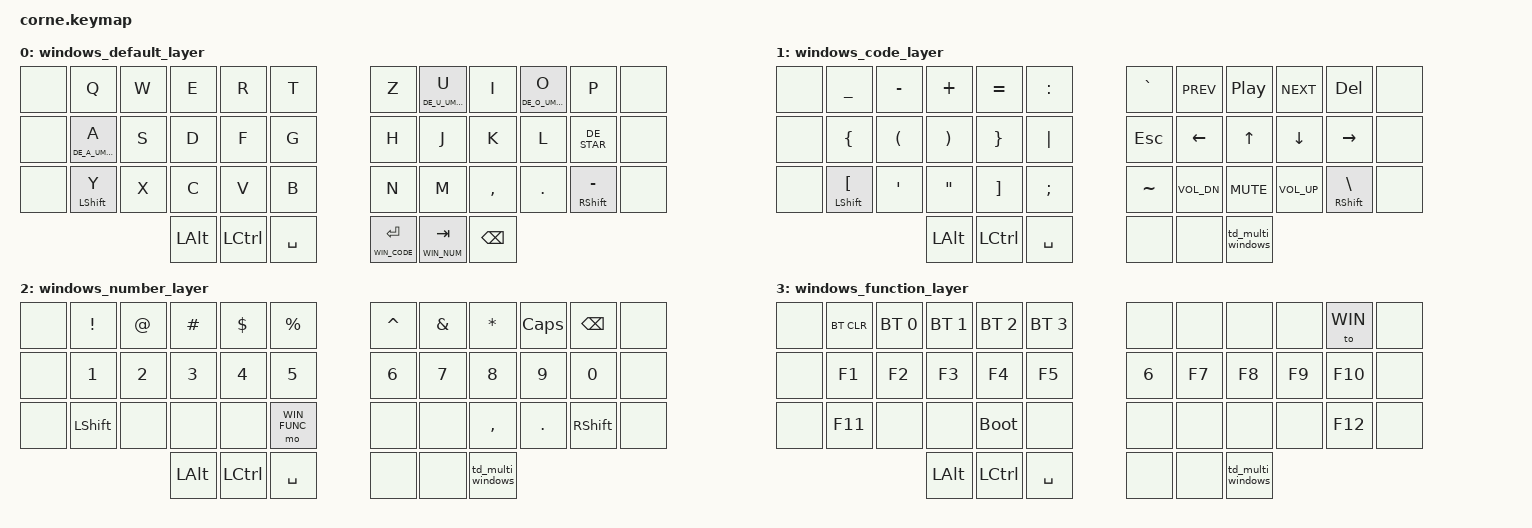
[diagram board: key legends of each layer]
#include <behaviors.dtsi>
#include <dt-bindings/zmk/keys.h>
#include <dt-bindings/zmk/bt.h>
#include "keys_de.h"
#include "keys_nb.h"
#include "keys_se.h"

// Layers
#define WIN 0
#define WIN_CODE 1
#define WIN_NUM 2
#define WIN_FUNC 3

// Behavior Overrides
&lt {
    tapping-term-ms = <200>;
    flavor = "hold-preferred";
};

/ {
    //combos {
      //  compatible = "zmk,combos";
        
        //combo_tab {
        //  timeout-ms = <20>;
        //  key-positions = <1 2>;
        //  bindings = <&kp TAB>;
        //};

      //  combo_enter {
        //    timeout-ms = <20>;
          //  key-positions = <13 14>;
            //bindings = <&kp ENTER>;
        //};
    //};  WIN NUM WIN TAB

    macros {
        spotlight: spotlight {
            label = "spotlight";
            compatible = "zmk,behavior-macro";
            #binding-cells = <0>;
            bindings = <&macro_press &kp LGUI>, <&macro_tap &kp SPACE>, <&macro_release &kp LGUI>; 
        };

        // Emoji
        mac_emoji: mac_emoji {
            label = "mac_emoji";
            compatible = "zmk,behavior-macro";
            #binding-cells = <0>;
            bindings = <&macro_press &kp LGUI>, <&macro_press &kp LCTRL>, <&macro_tap &kp SPACE>, <&macro_release &kp LCTRL>, <&macro_release &kp LGUI>; 
        };

        win_emoji: win_emoji {
            label = "win_emoji";
            compatible = "zmk,behavior-macro";
            #binding-cells = <0>;
            bindings = <&macro_press &kp LGUI>, <&macro_tap &kp DOT>, <&macro_release &kp LGUI>; 
        };
    };

    behaviors {
        td_multi_mac: tap_dance_multi_mac {
            compatible = "zmk,behavior-tap-dance";
            label = "TAP_DANCE_MULTI_MAC";
            #binding-cells = <0>;
            tapping-term-ms = <200>;
            bindings = <&kp ESC>, <&spotlight>, <&mac_emoji>;
        };

        td_multi_windows: tap_dance_multi_windows {
            compatible = "zmk,behavior-tap-dance";
            label = "TAP_DANCE_MULTI_WINDOWS";
            #binding-cells = <0>;
            tapping-term-ms = <200>;
            bindings = <&kp ESC>, <&kp LGUI>, <&win_emoji>;
        };

        bm: bottom_row_mods {
            compatible = "zmk,behavior-hold-tap";
            label = "BOTTOM_ROW_MODS";
            #binding-cells = <2>;
            tapping-term-ms = <200>;
            quick-tap-ms = <0>;
            flavor = "tap-preferred";
            bindings = <&kp>, <&kp>;
        };

        cm: code_row_mods {
            compatible = "zmk,behavior-hold-tap";
            label = "CODE_ROW_MODS";
            #binding-cells = <2>;
            tapping-term-ms = <200>;
            quick-tap-ms = <0>;
            flavor = "tap-preferred";
            bindings = <&kp>, <&kp>;
            retro-tap;
        };

        sm: space_mod {
            compatible = "zmk,behavior-hold-tap";
            label = "SPACE_MOD";
            #binding-cells = <2>;
            flavor = "balanced";
            tapping-term-ms = <200>;
            quick-tap-ms = <125>;
            bindings = <&kp>, <&kp>;
        };
    };

    keymap {
        compatible = "zmk,keymap";
        windows_default_layer {
            bindings = <
                &none      &kp Q            &kp W      &kp E          &kp R         &kp T               &kp Z                 &bm DE_U_UMLAUT U                  &kp I  &bm DE_O_UMLAUT O        &kp P            &none
                &none      &bm DE_A_UMLAUT A            &kp S      &kp D          &kp F         &kp G               &kp H                 &kp J                  &kp K              &kp L        &kp DE_STAR              &none
                &none      &bm LSHFT Y      &kp X      &kp C          &kp V         &kp B               &kp N                 &kp M                  &kp COMMA          &kp DOT      &bm RSHFT MINUS     &none
                                                       &kp LALT       &kp LCTRL      &kp SPACE      &lt WIN_CODE ENTER     &lt WIN_NUM TAB      &kp BSPC     
            >;
        };

        windows_code_layer {
            bindings = <
                &none      &kp UNDER           &kp MINUS     &kp PLUS       &kp EQUAL      &kp COLON      &kp GRAVE      &kp C_PREV        &kp C_PP               &kp C_NEXT        &kp DEL             &none
                &none      &kp LBRC            &kp LPAR      &kp RPAR       &kp RBRC       &kp PIPE       &kp ESC        &kp LEFT          &kp UP                 &kp DOWN          &kp RIGHT           &none
                &none      &cm LSHFT LBKT      &kp APOS      &kp DQT        &kp RBKT       &kp SEMI       &kp TILDE      &kp C_VOL_DN      &kp C_MUTE             &kp C_VOL_UP      &cm RSHFT BSLH      &none
                                                             &kp LALT       &kp LCTRL      &kp SPACE      &none          &none             &td_multi_windows      
            >;
        };

        windows_number_layer {
            bindings = < 
                &none      &kp EXCL       &kp AT      &kp HASH       &kp DLLR       &kp PRCNT        &kp CARET      &kp AMPS      &kp ASTERISK           &kp CAPS      &kp BSPC       &none  
                &none      &kp N1         &kp N2      &kp N3         &kp N4         &kp N5           &kp N6         &kp N7        &kp N8                 &kp N9        &kp N0         &none
                &none      &kp LSHFT      &none       &none          &none          &mo WIN_FUNC     &none          &none         &kp COMMA              &kp DOT       &kp RSHFT      &none
                                                      &kp LALT       &kp LCTRL      &kp SPACE        &none          &none         &td_multi_windows      
            >;
        };

        windows_function_layer {
            bindings =<
                &none      &bt BT_CLR      &bt BT_SEL 0      &bt BT_SEL 1      &bt BT_SEL 2      &bt BT_SEL 3      &none      &none       &none                  &none       &to WIN      &none
                &none      &kp F1          &kp F2            &kp F3            &kp F4            &kp F5            &kp 6      &kp F7      &kp F8                 &kp F9      &kp F10      &none
                &none      &kp F11         &none             &none             &bootloader       &none             &none      &none       &none                  &none       &kp F12      &none
                                                             &kp LALT          &kp LCTRL         &kp SPACE         &none      &none       &td_multi_windows      
            >;
        };
    };
};
